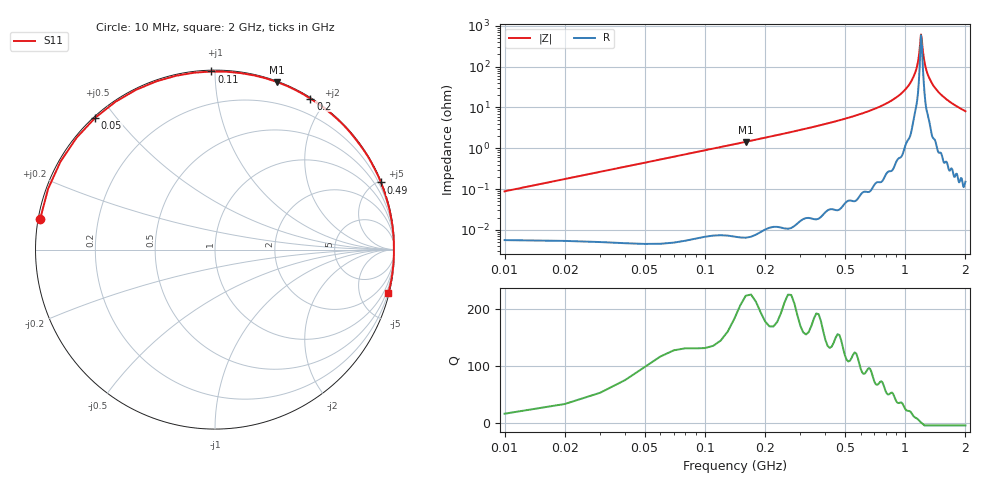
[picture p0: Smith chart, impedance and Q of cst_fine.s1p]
! H_s8_cap_2: PDN loop: BGA pin field to a 0402 capacitor 2 mm away
! stackup: 8-layer 1.6 mm FR-4 (generic)
! ports: 1 IC pins
! CST Studio Suite 2025.5 Release from 2025-05-30, time domain (FIT, hexahedral, PBA), 491040 mesh cells, 489 s
! mesh: {'lpw': 30.0, 'lpb': 30.0, 'minstep': 0.0, 'ratio': 20}; ports: port 1 (edge)
! interpolated from CST's 1001 samples to the case grid
# Hz S RI R 1
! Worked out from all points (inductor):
!   200 points, 10 MHz to 2 GHz, reference 1 ohm
!   read as one part to ground: L = 1.4 nH near 20 MHz
!   highest Q = 212 at 160 MHz (marker M1), where L = 1.43 nH
!   self-resonance near 1.2 GHz
!   S11 on the Smith chart (normalised r, x): 10 MHz: 0.01, +0.09; 50 MHz: 0.00, +0.44; 110 MHz: 0.01, +0.98; 200 MHz: 0.01, +1.82; 490 MHz: 0.04, +5.14; 2 GHz: 0.15, -8.09
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1e7  -0.9737 0.1727
2e7  -0.9301 0.3381
3e7  -0.8611 0.4898
4e7  -0.7716 0.6228
5e7  -0.6677 0.7342
6e7  -0.5554 0.823
7e7  -0.4401 0.8901
8e7  -0.3264 0.9376
9e7  -0.2175 0.9684
1.1e8  -0.0203 0.9924
1.3e8  0.1468 0.9829
1.6e8  0.3462 0.9337
1.8e8  0.4491 0.8888
2e8  0.5319 0.8412
2.3e8  0.6284 0.7723
2.6e8  0.7023 0.7075
3e8  0.7733 0.6282
3.6e8  0.8444 0.5305
4.1e8  0.883 0.462
4.9e8  0.9243 0.374
5.1e8  0.9314 0.3552
6.1e8  0.9584 0.2742
7.6e8  0.9807 0.1821
1.01e9  0.9945 0.0692
1.26e9  0.9972 -0.0186
1.51e9  0.9918 -0.096
1.76e9  0.9825 -0.1701
2e9  0.9655 -0.2423
